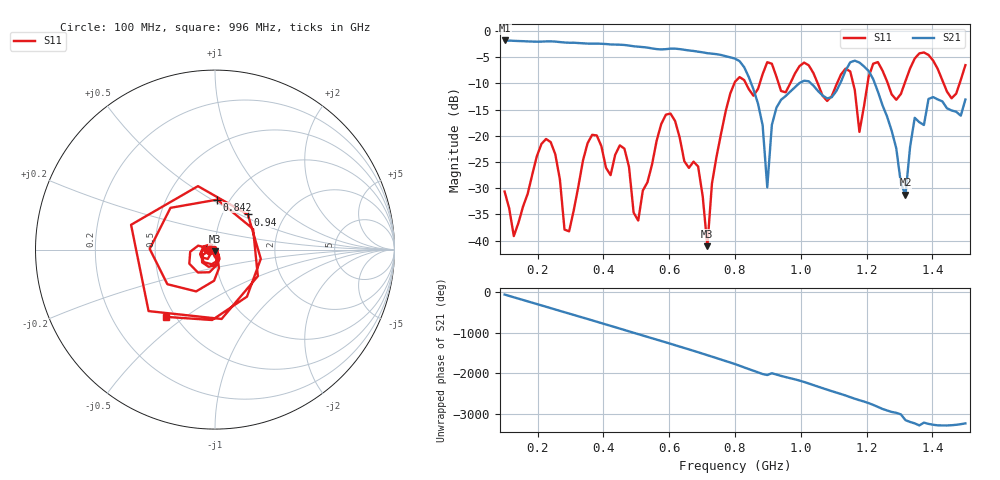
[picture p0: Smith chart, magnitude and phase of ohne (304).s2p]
! NanoVNA-App
! Date: 2025-09-25 14:23:09
! Start: 100MHz Stop: 1,5GHz Points: 101
! S-Parameter data: F S11 S21 S12 S22
# Hz S RI R 50
!  Frequency  S11_Real  S11_Imag  S21_Real  S21_Imag  S12_Real  S12_Imag  S22_Real  S22_Imag
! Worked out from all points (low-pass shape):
!   101 points, 100 MHz to 1.5 GHz, reference 50 ohm
!   highest |S21| = -1.79 dB at 100 MHz (marker M1); lowest = -31.3 dB at 1.318 GHz (marker M2)
!   |S21| within 3 dB of the highest: start of sweep to 771.5 MHz
!   lowest |S11| = -41.1 dB at 716 MHz (marker M3), VSWR 1.02, Z = 49.8 - j0.868 ohm
!   |S11| at or under -10 dB: start of sweep to 798 MHz; 833.1 MHz to 875.1 MHz (42 MHz wide, 4.92 % of centre); 1.052 GHz to 1.11 GHz (58.38 MHz wide, 5.4 % of centre) (the widest 3 of 7)
!   S12 and S22 are empty: the file has one direction only
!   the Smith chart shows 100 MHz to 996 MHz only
!   S11 on the Smith chart (normalised r, x): 100 MHz: 0.94, -0.01; 842 MHz: 0.88, +0.53; 940 MHz: 1.31, +0.55; 996 MHz: 0.45, -0.43
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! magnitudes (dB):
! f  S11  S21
! 100 MHz  -30.6  -1.8
! 128 MHz  -39.1  -1.9
! 226 MHz  -20.6  -2.0
! 296 MHz  -38.2  -2.2
! 338 MHz  -24.7  -2.3
! 464 MHz  -22.4  -2.7
! 506 MHz  -36.2  -3.0
! 576 MHz  -17.7  -3.5
! 688 MHz  -25.9  -3.9
! 716 MHz  -41.1  -4.2
! 800 MHz  -9.7  -5.3
! 842 MHz  -11.1  -8.8
! 898 MHz  -5.9  -29.8
! 940 MHz  -11.4  -13.1
! 996 MHz  -6.7  -9.9
! 1.038 GHz  -8.0  -10.4
! 1.178 GHz  -19.3  -6.0
! 1.22 GHz  -6.2  -9.2
! 1.276 GHz  -12.1  -19.0
! 1.318 GHz  -9.5  -31.3
! 1.346 GHz  -5.2  -16.6
! 1.5 GHz  -6.5  -13.1
